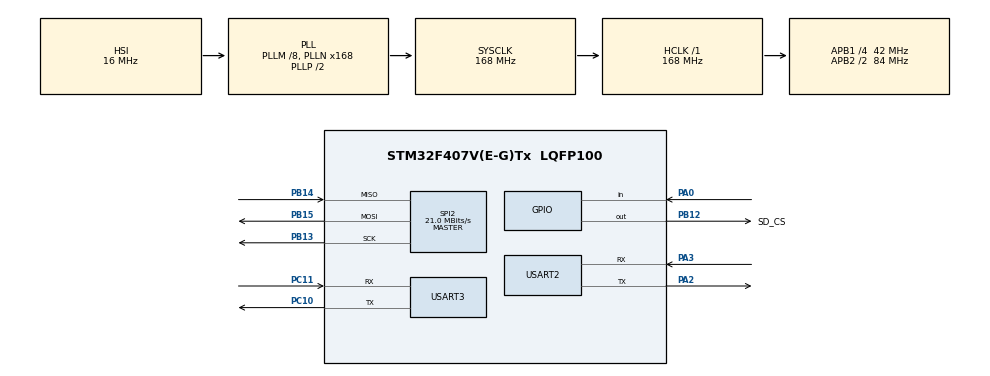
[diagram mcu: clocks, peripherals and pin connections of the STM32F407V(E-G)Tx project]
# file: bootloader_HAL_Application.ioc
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FATFS._MAX_SS=4096
FATFS._USE_LFN=1
Mcu.Family=STM32F4
Mcu.Name=STM32F407V(E-G)Tx
Mcu.Package=LQFP100
NVIC.PriorityGroup=NVIC_PRIORITYGROUP_4
PA0-WKUP.Signal=GPIO_Input
PA13.Mode=Serial_Wire
PA13.Signal=SYS_JTMS-SWDIO
PA14.Mode=Serial_Wire
PA14.Signal=SYS_JTCK-SWCLK
PA2.Mode=Asynchronous
PA2.Signal=USART2_TX
PA3.Mode=Asynchronous
PA3.Signal=USART2_RX
PB12.GPIO_Label=SD_CS
PB12.Signal=GPIO_Output
PB13.Mode=Full_Duplex_Master
PB13.Signal=SPI2_SCK
PB14.Mode=Full_Duplex_Master
PB14.Signal=SPI2_MISO
PB15.Mode=Full_Duplex_Master
PB15.Signal=SPI2_MOSI
PC10.Mode=Asynchronous
PC10.Signal=USART3_TX
PC11.Mode=Asynchronous
PC11.Signal=USART3_RX
ProjectManager.HeapSize=0x200
ProjectManager.StackSize=0x400
ProjectManager.TargetToolchain=STM32CubeIDE
RCC.48MHZClocksFreq_Value=84000000
RCC.AHBFreq_Value=168000000
RCC.APB1CLKDivider=RCC_HCLK_DIV4
RCC.APB1Freq_Value=42000000
RCC.APB1TimFreq_Value=84000000
RCC.APB2CLKDivider=RCC_HCLK_DIV2
RCC.APB2Freq_Value=84000000
RCC.APB2TimFreq_Value=168000000
RCC.CortexFreq_Value=168000000
RCC.HCLKFreq_Value=168000000
RCC.HSE_VALUE=25000000
RCC.HSI_VALUE=16000000
RCC.LSE_VALUE=32768
RCC.PLLM=8
RCC.PLLN=168
RCC.SYSCLKFreq_VALUE=168000000
RCC.SYSCLKSource=RCC_SYSCLKSOURCE_PLLCLK
RCC.VCOOutputFreq_Value=336000000
SPI2.CalculateBaudRate=21.0 MBits/s
SPI2.Direction=SPI_DIRECTION_2LINES
SPI2.Mode=SPI_MODE_MASTER
SPI2.VirtualType=VM_MASTER
USART2.VirtualMode=VM_ASYNC
USART3.VirtualMode=VM_ASYNC
VP_CRC_VS_CRC.Mode=CRC_Activate
VP_FATFS_VS_Generic.Mode=User_defined
board=custom

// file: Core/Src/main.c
/* USER CODE BEGIN Header */
/**
  ******************************************************************************
  * @file           : main.c
  * @brief          : Main program body
  ******************************************************************************
  * @attention
  *
  * Copyright (c) 2022 STMicroelectronics.
  * All rights reserved.
  *
  * This software is licensed under terms that can be found in the LICENSE file
  * in the root directory of this software component.
  * If no LICENSE file comes with this software, it is provided AS-IS.
  *
  ******************************************************************************
  */
/* USER CODE END Header */
#include "main.h"
#include "fatfs.h"

/* USER CODE BEGIN Includes */
#include "boot/bootloader.h"
/* USER CODE END Includes */

 CRC_HandleTypeDef hcrc;

SPI_HandleTypeDef hspi2;

UART_HandleTypeDef huart2;
UART_HandleTypeDef huart3;

void SystemClock_Config(void);
static void MX_GPIO_Init(void);
static void MX_USART2_UART_Init(void);
static void MX_USART3_UART_Init(void);
static void MX_CRC_Init(void);
static void MX_SPI2_Init(void);
/* USER CODE BEGIN PFP */
void printMessages(char *format, ...);
/* USER CODE END PFP */

/* USER CODE BEGIN 0 */

void printMessages(char *format, ...)
{
	char comingMessage[100];

	va_list vaList;
	va_start(vaList, format);
	vsprintf(comingMessage, format, vaList);
	HAL_UART_Transmit(&huart2, (uint8_t*)comingMessage, strlen(comingMessage), 100);
	va_end(vaList);
}

FATFS 	fs;
FRESULT res;
FIL		file;
char 	fileBuff[100000];
int 	byteRead=0;

/* USER CODE END 0 */

int main(void)
{

  /* MCU Configuration--------------------------------------------------------*/

  /* Reset of all peripherals, Initializes the Flash interface and the Systick. */
  HAL_Init();

  /* Configure the system clock */
  SystemClock_Config();

  /* Initialize all configured peripherals */
  MX_GPIO_Init();
  MX_USART2_UART_Init();
  MX_USART3_UART_Init();
  MX_CRC_Init();
  MX_SPI2_Init();
  MX_FATFS_Init();
  /* USER CODE BEGIN 2 */

  res = f_mount(&fs, "", 0);
  if(res != FR_OK)
  {
	  while(1);
  }

  res = f_open(&file, "NSW.bin", FA_READ);
  if(res == FR_OK)
  {
	  res = f_read(&file, fileBuff, sizeof(fileBuff), byteRead);
	  if(res == FR_OK)
	  {
		  execute_flash_erase(2,10);
		  execute_memory_write(&fileBuff[0], FLASH_SECTOR2_BASE_ADDRESS, file.obj.objsize);
		  bootloader_jump_to_user_app();
	  }
	  else
	  {
		  while(1){
			  printMessages("BL DEBUG MESG: there is new software but it is damaged\r\n");
			  HAL_Delay(1000);
		  }
	  }
  }
  else
  {
	  if(HAL_GPIO_ReadPin(GPIOA, GPIO_PIN_0) == GPIO_PIN_SET)
	  {
		  printMessages("BL DEBUG MESG: Button is pressed and going to bootloader\r\n");
		  bootloader_uart_data_read();
	  }
	  else
	  {
		  printMessages("BL DEBUG MESG: Button is not pressed and executing user app\r\n");
		  bootloader_jump_to_user_app();
	  }
  }
  f_close(&file);

  /* USER CODE END 2 */

  /* Infinite loop */
  while (1)
  {

  }
}

void SystemClock_Config(void)
{
  RCC_OscInitTypeDef RCC_OscInitStruct = {0};
  RCC_ClkInitTypeDef RCC_ClkInitStruct = {0};

  /** Configure the main internal regulator output voltage
  */
  __HAL_RCC_PWR_CLK_ENABLE();
  __HAL_PWR_VOLTAGESCALING_CONFIG(PWR_REGULATOR_VOLTAGE_SCALE1);

  /** Initializes the RCC Oscillators according to the specified parameters
  * in the RCC_OscInitTypeDef structure.
  */
  RCC_OscInitStruct.OscillatorType = RCC_OSCILLATORTYPE_HSI;
  RCC_OscInitStruct.HSIState = RCC_HSI_ON;
  RCC_OscInitStruct.HSICalibrationValue = RCC_HSICALIBRATION_DEFAULT;
  RCC_OscInitStruct.PLL.PLLState = RCC_PLL_ON;
  RCC_OscInitStruct.PLL.PLLSource = RCC_PLLSOURCE_HSI;
  RCC_OscInitStruct.PLL.PLLM = 8;
  RCC_OscInitStruct.PLL.PLLN = 168;
  RCC_OscInitStruct.PLL.PLLP = RCC_PLLP_DIV2;
  RCC_OscInitStruct.PLL.PLLQ = 4;
  if (HAL_RCC_OscConfig(&RCC_OscInitStruct) != HAL_OK)
  {
    Error_Handler();
  }

  /** Initializes the CPU, AHB and APB buses clocks
  */
  RCC_ClkInitStruct.ClockType = RCC_CLOCKTYPE_HCLK|RCC_CLOCKTYPE_SYSCLK
                              |RCC_CLOCKTYPE_PCLK1|RCC_CLOCKTYPE_PCLK2;
  RCC_ClkInitStruct.SYSCLKSource = RCC_SYSCLKSOURCE_PLLCLK;
  RCC_ClkInitStruct.AHBCLKDivider = RCC_SYSCLK_DIV1;
  RCC_ClkInitStruct.APB1CLKDivider = RCC_HCLK_DIV4;
  RCC_ClkInitStruct.APB2CLKDivider = RCC_HCLK_DIV2;

  if (HAL_RCC_ClockConfig(&RCC_ClkInitStruct, FLASH_LATENCY_5) != HAL_OK)
  {
    Error_Handler();
  }
}

static void MX_CRC_Init(void)
{

  hcrc.Instance = CRC;
  if (HAL_CRC_Init(&hcrc) != HAL_OK)
  {
    Error_Handler();
  }

}

static void MX_SPI2_Init(void)
{

  /* SPI2 parameter configuration*/
  hspi2.Instance = SPI2;
  hspi2.Init.Mode = SPI_MODE_MASTER;
  hspi2.Init.Direction = SPI_DIRECTION_2LINES;
  hspi2.Init.DataSize = SPI_DATASIZE_8BIT;
  hspi2.Init.CLKPolarity = SPI_POLARITY_LOW;
  hspi2.Init.CLKPhase = SPI_PHASE_1EDGE;
  hspi2.Init.NSS = SPI_NSS_SOFT;
  hspi2.Init.BaudRatePrescaler = SPI_BAUDRATEPRESCALER_2;
  hspi2.Init.FirstBit = SPI_FIRSTBIT_MSB;
  hspi2.Init.TIMode = SPI_TIMODE_DISABLE;
  hspi2.Init.CRCCalculation = SPI_CRCCALCULATION_DISABLE;
  hspi2.Init.CRCPolynomial = 10;
  if (HAL_SPI_Init(&hspi2) != HAL_OK)
  {
    Error_Handler();
  }

}

static void MX_USART2_UART_Init(void)
{

  huart2.Instance = USART2;
  huart2.Init.BaudRate = 115200;
  huart2.Init.WordLength = UART_WORDLENGTH_8B;
  huart2.Init.StopBits = UART_STOPBITS_1;
  huart2.Init.Parity = UART_PARITY_NONE;
  huart2.Init.Mode = UART_MODE_TX_RX;
  huart2.Init.HwFlowCtl = UART_HWCONTROL_NONE;
  huart2.Init.OverSampling = UART_OVERSAMPLING_16;
  if (HAL_UART_Init(&huart2) != HAL_OK)
  {
    Error_Handler();
  }

}

static void MX_USART3_UART_Init(void)
{

  huart3.Instance = USART3;
  huart3.Init.BaudRate = 115200;
  huart3.Init.WordLength = UART_WORDLENGTH_8B;
  huart3.Init.StopBits = UART_STOPBITS_1;
  huart3.Init.Parity = UART_PARITY_NONE;
  huart3.Init.Mode = UART_MODE_TX_RX;
  huart3.Init.HwFlowCtl = UART_HWCONTROL_NONE;
  huart3.Init.OverSampling = UART_OVERSAMPLING_16;
  if (HAL_UART_Init(&huart3) != HAL_OK)
  {
    Error_Handler();
  }

}

static void MX_GPIO_Init(void)
{
  GPIO_InitTypeDef GPIO_InitStruct = {0};

  /* GPIO Ports Clock Enable */
  __HAL_RCC_GPIOA_CLK_ENABLE();
  __HAL_RCC_GPIOB_CLK_ENABLE();
  __HAL_RCC_GPIOC_CLK_ENABLE();

  /*Configure GPIO pin Output Level */
  HAL_GPIO_WritePin(SD_CS_GPIO_Port, SD_CS_Pin, GPIO_PIN_RESET);

  /*Configure GPIO pin : PA0 */
  GPIO_InitStruct.Pin = GPIO_PIN_0;
  GPIO_InitStruct.Mode = GPIO_MODE_INPUT;
  GPIO_InitStruct.Pull = GPIO_NOPULL;
  HAL_GPIO_Init(GPIOA, &GPIO_InitStruct);

  /*Configure GPIO pin : SD_CS_Pin */
  GPIO_InitStruct.Pin = SD_CS_Pin;
  GPIO_InitStruct.Mode = GPIO_MODE_OUTPUT_PP;
  GPIO_InitStruct.Pull = GPIO_NOPULL;
  GPIO_InitStruct.Speed = GPIO_SPEED_FREQ_LOW;
  HAL_GPIO_Init(SD_CS_GPIO_Port, &GPIO_InitStruct);

}

void Error_Handler(void)
{
  __disable_irq();
  while (1)
  {
  }
}
